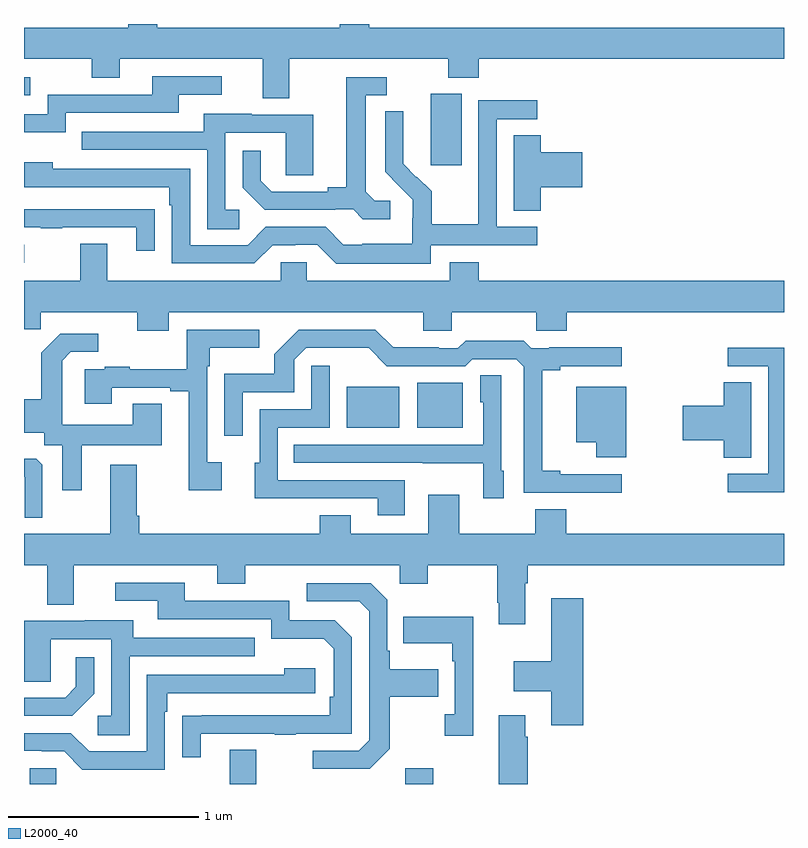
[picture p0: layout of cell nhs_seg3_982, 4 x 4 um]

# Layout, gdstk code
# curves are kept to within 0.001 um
import gdstk
lib = gdstk.Library(unit=1e-6, precision=1e-09)
def R(c, l, rs):  # rectangles x0, y0, x1, y1
    for r in rs: c.add(gdstk.rectangle(r[:2], r[2:], *l))
def P(c, l, *ps):  # polygons
    for p in ps: c.add(gdstk.Polygon(p, *l))
L2000_40 = (2000, 40)

nhs_seg3_982 = lib.new_cell('nhs_seg3_982')
R(nhs_seg3_982, L2000_40, [(161.031,730.4,161.169,730.482), (162.083,730.4,162.223,730.579), (163.007,730.4,163.155,730.483), (162.698,732.275,162.976,732.49), (163.07,732.275,163.309,732.511), (161,733.143,161.002,733.239), (163.142,733.656,163.303,734.032), (161,734.025,161.032,734.121)])
P(nhs_seg3_982, L2000_40, [(162.818,734.4),(162.661,734.4),(162.661,734.38),(161.701,734.38),(161.701,734.4),(161.549,734.4),(161.549,734.38),(161,734.38),(161,734.216),(161.356,734.216),(161.356,734.117),(161.503,734.117),(161.503,734.216),(162.257,734.216),(162.257,734.008),(162.397,734.008),(162.397,734.216),(163.234,734.216),(163.234,734.117),(163.394,734.117),(163.394,734.216),(165,734.216),(165,734.38),(162.818,734.38)],
  [(161.22,733.932),(161.815,733.932),(161.815,734.028),(162.04,734.028),(162.04,734.124),(161.675,734.124),(161.675,734.028),(161.124,734.028),(161.124,733.926),(161,733.926),(161,733.829),(161.22,733.829)],
  [(162.928,733.47),(162.846,733.47),(162.799,733.517),(162.799,734.025),(162.91,734.025),(162.91,734.121),(162.695,734.121),(162.695,733.541),(162.599,733.541),(162.599,733.518),(162.304,733.518),(162.247,733.575),(162.247,733.732),(162.15,733.732),(162.15,733.538),(162.266,733.422),(162.638,733.422),(162.638,733.425),(162.732,733.425),(162.784,733.373),(162.928,733.373)],
  [(163.14,733.236),(163.702,733.236),(163.702,733.332),(163.488,733.332),(163.488,733.899),(163.702,733.899),(163.702,733.998),(163.392,733.998),(163.392,733.568),(163.39,733.568),(163.39,733.345),(163.145,733.345),(163.145,733.519),(163.068,733.596),(163.065,733.593),(162.995,733.664),(162.995,733.768),(162.997,733.768),(162.997,733.94),(162.9,733.94),(162.9,733.622),(163.046,733.474),(163.046,733.377),(163.044,733.377),(163.044,733.243),(162.781,733.243),(162.781,733.239),(162.681,733.239),(162.588,733.332),(162.273,733.332),(162.177,733.236),(161.874,733.236),(161.874,733.638),(161.15,733.638),(161.15,733.672),(161,733.672),(161,733.542),(161.765,733.542),(161.765,733.445),(161.778,733.445),(161.778,733.14),(162.213,733.14),(162.309,733.236),(162.428,733.236),(162.428,733.239),(162.543,733.239),(162.643,733.139),(163.14,733.139)],
  [(162.133,733.422),(162.06,733.422),(162.06,733.827),(162.378,733.827),(162.378,733.603),(162.523,733.603),(162.523,733.923),(162.199,733.923),(162.199,733.927),(161.945,733.927),(161.945,733.833),(161.305,733.833),(161.305,733.737),(161.964,733.737),(161.964,733.321),(162.133,733.321)],
  [(163.721,733.541),(163.939,733.541),(163.939,733.724),(163.721,733.724),(163.721,733.814),(163.577,733.814),(163.577,733.417),(163.721,733.417)],
  [(161.687,733.424),(161.585,733.424),(161.585,733.425),(161,733.425),(161,733.329),(161.089,733.329),(161.089,733.324),(161.201,733.324),(161.201,733.329),(161.591,733.329),(161.591,733.206),(161.687,733.206)],
  [(161.761,732.884),(163.1,732.884),(163.1,732.786),(163.251,732.786),(163.251,732.884),(163.696,732.884),(163.696,732.786),(163.856,732.786),(163.856,732.884),(165,732.884),(165,733.048),(163.394,733.048),(163.394,733.147),(163.241,733.147),(163.241,733.048),(162.489,733.048),(162.489,733.146),(162.351,733.146),(162.351,733.048),(161.437,733.048),(161.437,733.243),(161.297,733.243),(161.297,733.048),(161,733.048),(161,732.794),(161.087,732.794),(161.087,732.884),(161.597,732.884),(161.597,732.785),(161.761,732.785)],
  [(164.146,732.03),(163.822,732.03),(163.822,732.05),(163.727,732.05),(163.727,732.578),(163.822,732.578),(163.822,732.6),(164.146,732.6),(164.146,732.698),(163.765,732.698),(163.765,732.693),(163.671,732.693),(163.631,732.733),(163.324,732.733),(163.284,732.693),(163.184,732.693),(163.184,732.698),(162.944,732.698),(162.849,732.792),(162.446,732.792),(162.316,732.662),(162.316,732.559),(162.054,732.559),(162.054,732.234),(162.15,732.234),(162.15,732.462),(162.423,732.462),(162.423,732.633),(162.486,732.696),(162.815,732.695),(162.909,732.6),(163.323,732.6),(163.359,732.636),(163.59,732.636),(163.629,732.597),(163.629,731.934),(164.146,731.934)],
  [(162.04,732.094),(161.964,732.094),(161.964,732.599),(161.977,732.599),(161.977,732.695),(162.238,732.695),(162.238,732.792),(161.856,732.792),(161.856,732.584),(161.557,732.584),(161.557,732.595),(161.425,732.595),(161.425,732.582),(161.321,732.582),(161.321,732.402),(161.461,732.402),(161.461,732.486),(161.771,732.486),(161.771,732.468),(161.867,732.468),(161.867,731.946),(162.04,731.946)],
  [(161.305,732.182),(161.725,732.182),(161.725,732.401),(161.573,732.401),(161.573,732.292),(161.202,732.292),(161.202,732.533),(161.2,732.533),(161.2,732.628),(161.247,732.675),(161.392,732.675),(161.392,732.769),(161.191,732.769),(161.091,732.669),(161.091,732.424),(161,732.424),(161,732.248),(161.106,732.248),(161.106,732.184),(161.201,732.184),(161.201,731.946),(161.305,731.946)],
  [(165,732.696),(164.703,732.696),(164.703,732.6),(164.916,732.6),(164.916,732.033),(164.703,732.033),(164.703,731.935),(165,731.935)],
  [(163.003,732),(162.336,732),(162.336,732.276),(162.609,732.276),(162.609,732.601),(162.513,732.601),(162.513,732.372),(162.24,732.372),(162.24,732.09),(162.215,732.09),(162.215,731.903),(162.433,731.903),(162.433,731.904),(162.863,731.904),(162.863,731.814),(163.003,731.814)],
  [(163.525,732.048),(163.512,732.048),(163.512,732.551),(163.4,732.551),(163.4,732.408),(163.416,732.408),(163.416,732.186),(162.421,732.186),(162.421,732.09),(163.099,732.09),(163.099,732.089),(163.416,732.089),(163.416,731.904),(163.525,731.904)],
  [(164.827,732.515),(164.684,732.515),(164.684,732.392),(164.466,732.392),(164.466,732.209),(164.684,732.209),(164.684,732.118),(164.827,732.118)],
  [(164.17,732.49),(163.907,732.49),(163.907,732.2),(164.012,732.2),(164.012,732.12),(164.17,732.12)],
  [(161.097,732.081),(161.065,732.113),(161,732.113),(161,732.018),(161.004,732.018),(161.004,731.801),(161.097,731.801)],
  [(163.639,731.456),(163.652,731.456),(163.652,731.552),(165,731.552),(165,731.716),(163.855,731.716),(163.855,731.845),(163.691,731.845),(163.691,731.716),(163.291,731.716),(163.291,731.923),(163.127,731.923),(163.127,731.716),(162.721,731.716),(162.721,731.815),(162.557,731.815),(162.557,731.716),(161.606,731.716),(161.606,731.812),(161.593,731.812),(161.593,732.079),(161.453,732.079),(161.453,731.716),(161,731.716),(161,731.552),(161.123,731.552),(161.123,731.344),(161.263,731.344),(161.263,731.552),(162.017,731.552),(162.017,731.453),(162.165,731.453),(162.165,731.552),(162.978,731.552),(162.978,731.453),(163.125,731.453),(163.125,731.552),(163.492,731.552),(163.492,731.353),(163.499,731.353),(163.499,731.241),(163.639,731.241)],
  [(161.929,730.665),(162.319,730.665),(162.319,730.66),(162.431,730.66),(162.431,730.665),(162.726,730.665),(162.726,731.172),(162.636,731.262),(162.396,731.262),(162.396,731.364),(161.845,731.364),(161.845,731.46),(161.481,731.46),(161.481,731.364),(161.705,731.364),(161.705,731.268),(162.3,731.268),(162.3,731.165),(162.577,731.165),(162.63,731.112),(162.63,730.858),(162.61,730.858),(162.61,730.761),(161.833,730.76),(161.833,730.542),(161.929,730.542)],
  [(162.925,730.585),(162.925,730.858),(163.181,730.858),(163.181,731.005),(162.925,731.005),(162.925,731.101),(162.912,731.101),(162.912,731.37),(162.825,731.457),(162.489,731.457),(162.489,731.361),(162.765,731.361),(162.816,731.31),(162.816,730.629),(162.762,730.575),(162.519,730.575),(162.519,730.479),(162.819,730.479)],
  [(163.943,731.377),(163.775,731.377),(163.775,731.047),(163.578,731.047),(163.578,730.889),(163.775,730.889),(163.775,730.71),(163.943,730.71)],
  [(163.364,731.281),(162.997,731.281),(162.997,731.141),(163.254,731.141),(163.254,731.045),(163.266,731.045),(163.266,730.766),(163.215,730.766),(163.215,730.653),(163.364,730.653)],
  [(161.556,731.073),(162.215,731.073),(162.215,731.169),(161.575,731.169),(161.575,731.263),(161.321,731.263),(161.321,731.259),(161,731.259),(161,730.939),(161.142,730.939),(161.142,731.163),(161.46,731.163),(161.46,730.758),(161.388,730.758),(161.388,730.657),(161.556,730.657)],
  [(161.37,730.874),(161.37,731.068),(161.273,731.068),(161.273,730.911),(161.216,730.854),(161,730.854),(161,730.758),(161.254,730.758)],
  [(161.742,730.781),(161.755,730.781),(161.755,730.878),(162.532,730.878),(162.532,731.008),(162.371,731.008),(162.371,730.974),(161.646,730.974),(161.646,730.572),(161.343,730.572),(161.247,730.668),(161,730.668),(161,730.575),(161.093,730.575),(161.093,730.572),(161.211,730.572),(161.307,730.476),(161.742,730.476)],
  [(163.652,730.649),(163.639,730.649),(163.639,730.762),(163.499,730.762),(163.499,730.4),(163.652,730.4)])

lib.write_gds('nhs_seg3_982.gds')
